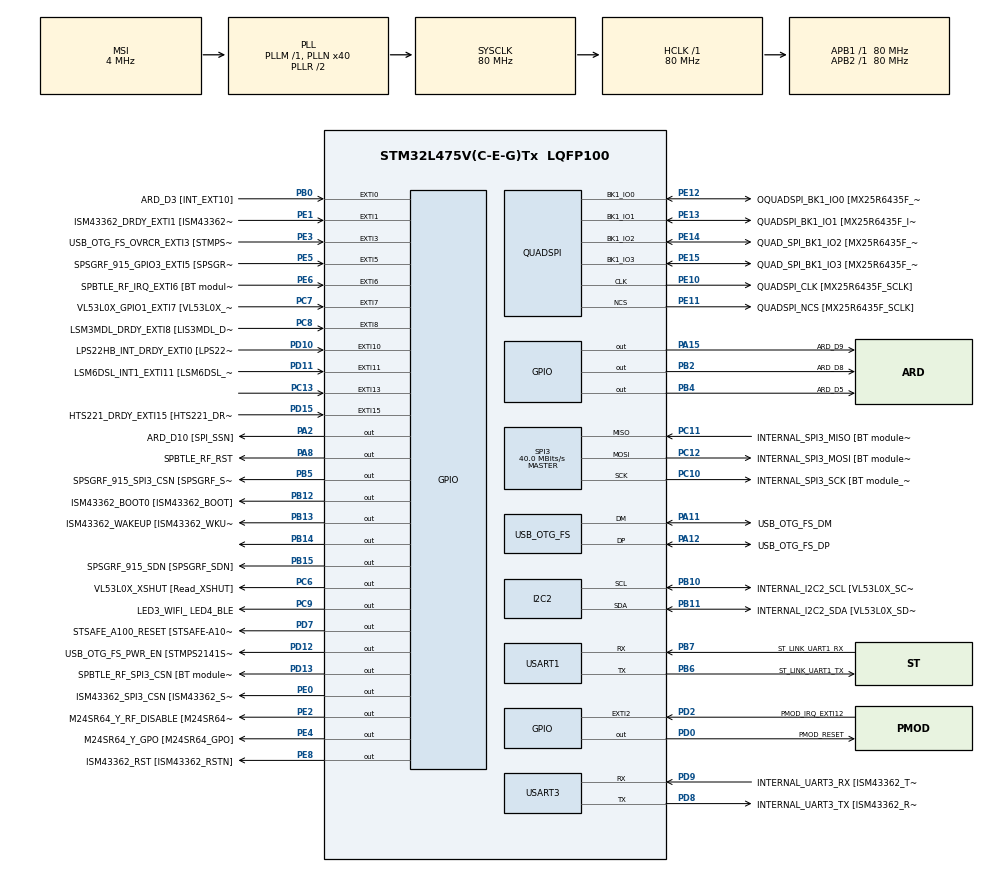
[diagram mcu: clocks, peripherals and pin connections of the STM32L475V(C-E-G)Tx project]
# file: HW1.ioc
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FREERTOS.BinarySemaphores01=timer,Dynamic,NULL,Available
FREERTOS.Mutexes01=blink,Dynamic,NULL,Depleted
FREERTOS.Queues01=button,16,uint16_t,0,Dynamic,NULL,NULL
FREERTOS.Tasks01=timer_task,47,128,StartDefaultTask,Default,NULL,Dynamic,NULL,NULL;button_task,8,128,StartTask02,Default,NULL,Dynamic,NULL,NULL
I2C2.Timing=0x10D19CE4
Mcu.Family=STM32L4
Mcu.Name=STM32L475V(C-E-G)Tx
Mcu.Package=LQFP100
NVIC.EXTI15_10_IRQn=true\:5\:0\:false\:false\:true\:true\:true\:true\:true
NVIC.EXTI9_5_IRQn=true\:5\:0\:false\:false\:true\:true\:true\:true\:true
NVIC.PriorityGroup=NVIC_PRIORITYGROUP_4
NVIC.TIM6_DAC_IRQn=true\:5\:0\:false\:false\:true\:true\:true\:true\:true
PA0.GPIO_Label=ARD_D1 [UART4_TX]
PA0.Signal=UART4_TX
PA1.GPIO_Label=ARD_D0 [UART4_RX]
PA1.Signal=UART4_RX
PA10.GPIO_Label=USB_OTG_FS_ID
PA10.Signal=USB_OTG_FS_ID
PA11.GPIO_Label=USB_OTG_FS_DM
PA11.Mode=Device_Only
PA11.Signal=USB_OTG_FS_DM
PA12.GPIO_Label=USB_OTG_FS_DP
PA12.Mode=Device_Only
PA12.Signal=USB_OTG_FS_DP
PA13\ (JTMS-SWDIO).GPIO_Label=SYS_JTMS_SWDIO
PA13\ (JTMS-SWDIO).Mode=Serial_Wire
PA13\ (JTMS-SWDIO).Signal=SYS_JTMS-SWDIO
PA14\ (JTCK-SWCLK).GPIO_Label=SYS_JTCK_SWCLK
PA14\ (JTCK-SWCLK).Mode=Serial_Wire
PA14\ (JTCK-SWCLK).Signal=SYS_JTCK-SWCLK
PA15\ (JTDI).GPIO_Label=ARD_D9
PA15\ (JTDI).Signal=GPIO_Output
PA2.GPIO_Label=ARD_D10 [SPI_SSN]
PA2.Signal=GPIO_Output
PA3.GPIO_Label=ARD_D4
PA3.Signal=S_TIM2_CH4
PA4.GPIO_Label=ARD_D7
PA4.Signal=ADCx_IN9
PA5.GPIO_Label=ARD_D13 [SPI1_SCK]
PA5.Signal=SPI1_SCK
PA6.GPIO_Label=ARD_D12 [SPI1_MISO]
PA6.Signal=SPI1_MISO
PA7.GPIO_Label=ARD_D11 [SPI1_MOSI]
PA7.Signal=SPI1_MOSI
PA8.GPIO_Label=SPBTLE_RF_RST
PA8.Signal=GPIO_Output
PA9.GPIO_Label=USB_OTG_FS_VBUS [STMPS2141STR_OUT]
PA9.Signal=USB_OTG_FS_VBUS
PB0.GPIO_Label=ARD_D3 [INT_EXT10]
PB0.Signal=GPXTI0
PB1.GPIO_Label=ARD_D6 [ADC1_IN6]
PB1.Signal=ADCx_IN16
PB10.GPIO_Label=INTERNAL_I2C2_SCL [VL53L0X_SCL]
PB10.GPIO_Pu=GPIO_PULLUP
PB10.Mode=I2C
PB10.Signal=I2C2_SCL
PB11.GPIO_Label=INTERNAL_I2C2_SDA [VL53L0X_SDA]
PB11.GPIO_Pu=GPIO_PULLUP
PB11.Mode=I2C
PB11.Signal=I2C2_SDA
PB12.GPIO_Label=ISM43362_BOOT0 [ISM43362_BOOT]
PB12.Signal=GPIO_Output
PB13.GPIO_Label=ISM43362_WAKEUP [ISM43362_WKUP]
PB13.Signal=GPIO_Output
PB14.Signal=GPIO_Output
PB15.GPIO_Label=SPSGRF_915_SDN [SPSGRF_SDN]
PB15.Signal=GPIO_Output
PB2.GPIO_Label=ARD_D8
PB2.Signal=GPIO_Output
PB3\ (JTDO-TRACESWO).GPIO_Label=SYS_JTD0_SWO
PB3\ (JTDO-TRACESWO).Signal=SYS_JTDO-SWO
PB4\ (NJTRST).GPIO_Label=ARD_D5
PB4\ (NJTRST).Signal=GPIO_Output
PB5.GPIO_Label=SPSGRF_915_SPI3_CSN [SPSGRF_SPI_CS]
PB5.PinState=GPIO_PIN_SET
PB5.Signal=GPIO_Output
PB6.GPIO_Label=ST_LINK_UART1_TX
PB6.Mode=Asynchronous
PB6.Signal=USART1_TX
PB7.GPIO_Label=ST_LINK_UART1_RX
PB7.Mode=Asynchronous
PB7.Signal=USART1_RX
PB8.GPIO_Label=ARD_D15 [I2C1_SCL]
PB8.Signal=I2C1_SCL
PB9.GPIO_Label=ARD_D14 [I2C1_SDA]
PB9.Signal=I2C1_SDA
PC0.GPIO_Label=ARD_A5 [ADC]
PC0.Signal=ADCx_IN1
PC1.GPIO_Label=ARD_A4 [ADC]
PC1.Signal=ADCx_IN2
PC10.GPIO_Label=INTERNAL_SPI3_SCK [BT module_SPI_SCLK] [ISM43362_SCK]
PC10.Mode=Full_Duplex_Master
PC10.Signal=SPI3_SCK
PC11.GPIO_Label=INTERNAL_SPI3_MISO [BT module_SPI_MISO] [ISM43362_MISO]
PC11.Mode=Full_Duplex_Master
PC11.Signal=SPI3_MISO
PC12.GPIO_Label=INTERNAL_SPI3_MOSI [BT module_SPI_MOSI] [ISM43362_MOSI]
PC12.Mode=Full_Duplex_Master
PC12.Signal=SPI3_MOSI
PC13.GPIO_ModeDefaultEXTI=GPIO_MODE_IT_RISING_FALLING
PC13.GPIO_PuPd=GPIO_PULLUP
PC13.Signal=GPXTI13
PC14-OSC32_IN\ (PC14).Mode=LSE-External-Oscillator
PC14-OSC32_IN\ (PC14).Signal=RCC_OSC32_IN
PC15-OSC32_OUT\ (PC15).Mode=LSE-External-Oscillator
PC15-OSC32_OUT\ (PC15).Signal=RCC_OSC32_OUT
PC2.GPIO_Label=ARD_A3 [ADC]
PC2.Signal=ADCx_IN3
PC3.GPIO_Label=ARD_A2 [ADC]
PC3.Signal=ADCx_IN4
PC4.GPIO_Label=ARD_A1 [ADC]
PC4.Signal=ADCx_IN13
PC5.GPIO_Label=ARD_A0 [ADC]
PC5.Signal=ADCx_IN14
PC6.GPIO_Label=VL53L0X_XSHUT [Read_XSHUT]
PC6.Signal=GPIO_Output
PC7.GPIO_Label=VL53L0X_GPIO1_EXTI7 [VL53L0X_GPIO1]
PC7.Signal=GPXTI7
PC8.GPIO_Label=LSM3MDL_DRDY_EXTI8 [LIS3MDL_DRDY]
PC8.Signal=GPXTI8
PC9.GPIO_Label=LED3_WIFI_ LED4_BLE
PC9.Signal=GPIO_Output
PD0.GPIO_Label=PMOD_RESET
PD0.Signal=GPIO_Output
PD1.GPIO_Label=PMOD_SPI2_SCK
PD1.Signal=SPI2_SCK
PD10.GPIO_Label=LPS22HB_INT_DRDY_EXTI0 [LPS22HB_INT_DRDY] 
PD10.Signal=GPXTI10
PD11.GPIO_Label=LSM6DSL_INT1_EXTI11 [LSM6DSL_INT1]
PD11.Signal=GPXTI11
PD12.GPIO_Label=USB_OTG_FS_PWR_EN [STMPS2141STR_EN]
PD12.Signal=GPIO_Output
PD13.GPIO_Label=SPBTLE_RF_SPI3_CSN [BT module_SPI_CS]
PD13.PinState=GPIO_PIN_SET
PD13.Signal=GPIO_Output
PD15.GPIO_Label=HTS221_DRDY_EXTI15 [HTS221_DRDY]
PD15.Signal=GPXTI15
PD2.GPIO_Label=PMOD_IRQ_EXTI12
PD2.Signal=GPXTI2
PD3.GPIO_Label=PMOD_UART2_CTS
PD3.Signal=USART2_CTS
PD4.GPIO_Label=PMOD_UART2_RTS
PD4.Signal=USART2_RTS
PD5.GPIO_Label=PMOD_UART2_TX
PD5.Signal=USART2_TX
PD6.GPIO_Label=PMOD_UART2_RX
PD6.Signal=USART2_RX
PD7.GPIO_Label=STSAFE_A100_RESET [STSAFE-A100_RESET]
PD7.Signal=GPIO_Output
PD8.GPIO_Label=INTERNAL_UART3_TX [ISM43362_RX]
PD8.Mode=Asynchronous
PD8.Signal=USART3_TX
PD9.GPIO_Label=INTERNAL_UART3_RX [ISM43362_TX]
PD9.Mode=Asynchronous
PD9.Signal=USART3_RX
PE0.GPIO_Label=ISM43362_SPI3_CSN [ISM43362_SSN]
PE0.PinState=GPIO_PIN_SET
PE0.Signal=GPIO_Output
PE1.GPIO_Label=ISM43362_DRDY_EXTI1 [ISM43362_DATARDY]
PE1.Signal=GPXTI1
PE10.GPIO_Label=QUADSPI_CLK [MX25R6435F_SCLK]
PE10.Mode=Single Bank
PE10.Signal=QUADSPI_CLK
PE11.GPIO_Label=QUADSPI_NCS [MX25R6435F_SCLK]
PE11.Mode=Single Bank
PE11.Signal=QUADSPI_NCS
PE12.GPIO_Label=OQUADSPI_BK1_IO0 [MX25R6435F_IO0]
PE12.Mode=Single Bank
PE12.Signal=QUADSPI_BK1_IO0
PE13.GPIO_Label=QUADSPI_BK1_IO1 [MX25R6435F_IO1]
PE13.Mode=Single Bank
PE13.Signal=QUADSPI_BK1_IO1
PE14.GPIO_Label=QUAD_SPI_BK1_IO2 [MX25R6435F_IO2]
PE14.Mode=Single Bank
PE14.Signal=QUADSPI_BK1_IO2
PE15.GPIO_Label=QUAD_SPI_BK1_IO3 [MX25R6435F_IO3]
PE15.Mode=Single Bank
PE15.Signal=QUADSPI_BK1_IO3
PE2.GPIO_Label=M24SR64_Y_RF_DISABLE [M24SR64_RFDIS]
PE2.Signal=GPIO_Output
PE3.GPIO_Label=USB_OTG_FS_OVRCR_EXTI3 [STMPS2141STR_FAULT]
PE3.Signal=GPXTI3
PE4.GPIO_Label=M24SR64_Y_GPO [M24SR64_GPO]
PE4.Signal=GPIO_Output
PE5.GPIO_Label=SPSGRF_915_GPIO3_EXTI5 [SPSGRF_GPIO_3]
PE5.Signal=GPXTI5
PE6.GPIO_Label=SPBTLE_RF_IRQ_EXTI6 [BT module_SPI_IRQ]
PE6.Signal=GPXTI6
PE8.GPIO_Label=ISM43362_RST [ISM43362_RSTN]
PE8.Signal=GPIO_Output
PE9.GPIO_Label=DFSDM1_CKOUT [MP34DT01_CLK]
PE9.Signal=S_CKOUTDFSDM1
ProjectManager.HeapSize=0x200
ProjectManager.StackSize=0x400
ProjectManager.TargetToolchain=STM32CubeIDE
QUADSPI.ClockPrescaler=2
QUADSPI.FifoThreshold=4
QUADSPI.FlashSize=23
QUADSPI.SampleShifting=QSPI_SAMPLE_SHIFTING_HALFCYCLE
RCC.ADCFreq_Value=48000000
RCC.AHBFreq_Value=80000000
RCC.APB1Freq_Value=80000000
RCC.APB1TimFreq_Value=80000000
RCC.APB2Freq_Value=80000000
RCC.APB2TimFreq_Value=80000000
RCC.CortexFreq_Value=80000000
RCC.HCLKFreq_Value=80000000
RCC.HSE_VALUE=8000000
RCC.HSI_VALUE=16000000
RCC.MSI_VALUE=4000000
RCC.PLLN=40
RCC.PLLSAI1N=24
RCC.SYSCLKFreq_VALUE=80000000
RCC.SYSCLKSource=RCC_SYSCLKSOURCE_PLLCLK
RCC.USBFreq_Value=48000000
RCC.VCOOutputFreq_Value=160000000
SH.ADCx_IN1.0=ADC1_IN1
SH.ADCx_IN13.0=ADC1_IN13
SH.ADCx_IN14.0=ADC1_IN14
SH.ADCx_IN16.0=ADC1_IN16
SH.ADCx_IN2.0=ADC1_IN2
SH.ADCx_IN3.0=ADC1_IN3
SH.ADCx_IN4.0=ADC1_IN4
SH.ADCx_IN9.0=ADC1_IN9
SH.S_CKOUTDFSDM1.0=DFSDM1_CKOUT
SH.S_TIM2_CH4.0=TIM2_CH4
SPI3.CalculateBaudRate=40.0 MBits/s
SPI3.Direction=SPI_DIRECTION_2LINES
SPI3.Mode=SPI_MODE_MASTER
SPI3.VirtualType=VM_MASTER
TIM6.AutoReloadPreload=TIM_AUTORELOAD_PRELOAD_ENABLE
TIM6.Period=19999
TIM6.Prescaler=39999
USART1.VirtualMode-Asynchronous=VM_ASYNC
USART3.VirtualMode-Asynchronous=VM_ASYNC
USB_OTG_FS.VirtualMode=Device_Only
VP_FREERTOS_VS_CMSIS_V2.Mode=CMSIS_V2
VP_TIM6_VS_ClockSourceINT.Mode=Enable_Timer
board=B-L475E-IOT01A2

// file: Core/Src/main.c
/* USER CODE BEGIN Header */
/**
  ******************************************************************************
  * @file           : main.c
  * @brief          : Main program body
  ******************************************************************************
  * @attention
  *
  * Copyright (c) 2024 STMicroelectronics.
  * All rights reserved.
  *
  * This software is licensed under terms that can be found in the LICENSE file
  * in the root directory of this software component.
  * If no LICENSE file comes with this software, it is provided AS-IS.
  *
  ******************************************************************************
  */
/* USER CODE END Header */
#include "main.h"
#include "cmsis_os.h"

/* USER CODE BEGIN PTD */
typedef enum {
    SHORT_PRESS_EVENT,
    LONG_PRESS_EVENT
} ButtonPressType;
/* USER CODE END PTD */

I2C_HandleTypeDef hi2c2;

QSPI_HandleTypeDef hqspi;

SPI_HandleTypeDef hspi3;

TIM_HandleTypeDef htim6;

UART_HandleTypeDef huart1;
UART_HandleTypeDef huart3;

PCD_HandleTypeDef hpcd_USB_OTG_FS;

/* Definitions for timer_task */
osThreadId_t timer_taskHandle;
const osThreadAttr_t timer_task_attributes = {
  .name = "timer_task",
  .stack_size = 128 * 4,
  .priority = (osPriority_t) osPriorityHigh7,
};
/* Definitions for button_task */
osThreadId_t button_taskHandle;
const osThreadAttr_t button_task_attributes = {
  .name = "button_task",
  .stack_size = 128 * 4,
  .priority = (osPriority_t) osPriorityLow,
};
/* Definitions for button */
osMessageQueueId_t buttonHandle;
const osMessageQueueAttr_t button_attributes = {
  .name = "button"
};
/* Definitions for blink */
osMutexId_t blinkHandle;
const osMutexAttr_t blink_attributes = {
  .name = "blink"
};
/* Definitions for timer */
osSemaphoreId_t timerHandle;
const osSemaphoreAttr_t timer_attributes = {
  .name = "timer"
};
/* USER CODE BEGIN PV */
// Create binary semaphores and mutex

/* USER CODE END PV */

void SystemClock_Config(void);
static void MX_GPIO_Init(void);
static void MX_I2C2_Init(void);
static void MX_QUADSPI_Init(void);
static void MX_SPI3_Init(void);
static void MX_USART1_UART_Init(void);
static void MX_USART3_UART_Init(void);
static void MX_USB_OTG_FS_PCD_Init(void);
static void MX_TIM6_Init(void);
void StartDefaultTask(void *argument);
void StartTask02(void *argument);

/* USER CODE BEGIN 0 */

static uint32_t buttonPressTime = 0;  // Track button press start time
static uint8_t buttonState = 0;
static uint32_t lastDebounceTime = 0;
void HAL_GPIO_EXTI_Callback(uint16_t GPIO_Pin) {
    if (GPIO_Pin == GPIO_PIN_13) {

        uint32_t currentTime = HAL_GetTick();  // Get the current time in ms

        if (currentTime - lastDebounceTime > 50) {  // Debouncing (50ms)
            lastDebounceTime = currentTime;

            if (HAL_GPIO_ReadPin(GPIOC, GPIO_PIN_13) == GPIO_PIN_RESET) {
                // Button is pressed (rising edge)
                buttonPressTime = currentTime;  // Record press start time
                buttonState = 1;
            } else {
                // Button is released (falling edge)
                if (buttonState == 1) {
                    uint32_t pressDuration = currentTime - buttonPressTime;

                    // Long press detection (1 second threshold)
                    if (pressDuration >= 1000) {
                        ButtonPressType longPress = LONG_PRESS_EVENT;
                        osMessageQueuePut(buttonHandle, &longPress, 0, 0);
                    } else {
                        ButtonPressType shortPress = SHORT_PRESS_EVENT;
                        osMessageQueuePut(buttonHandle, &shortPress, 0, 0);
                    }

                    buttonState = 0;  // Reset button state
                }
            }
        }
    }
}

void HAL_TIM_PeriodElapsedCallback(TIM_HandleTypeDef *htim) {
    if (htim->Instance == TIM6) {
        // Release the timer semaphore from ISR
        osSemaphoreRelease(timerHandle);
    }
}

/* USER CODE END 0 */

int main(void)
{

  /* MCU Configuration--------------------------------------------------------*/

  /* Reset of all peripherals, Initializes the Flash interface and the Systick. */
  HAL_Init();

  /* Configure the system clock */
  SystemClock_Config();

  /* Initialize all configured peripherals */
  MX_GPIO_Init();
  MX_I2C2_Init();
  MX_QUADSPI_Init();
  MX_SPI3_Init();
  MX_USART1_UART_Init();
  MX_USART3_UART_Init();
  MX_USB_OTG_FS_PCD_Init();
  MX_TIM6_Init();
  /* USER CODE BEGIN 2 */
  HAL_TIM_Base_Start_IT(&htim6);
  /* USER CODE END 2 */

  /* Init scheduler */
  osKernelInitialize();
  /* Create the mutex(es) */
  /* creation of blink */
  blinkHandle = osMutexNew(&blink_attributes);

  /* Create the semaphores(s) */
  /* creation of timer */
  timerHandle = osSemaphoreNew(1, 1, &timer_attributes);

  /* Create the queue(s) */
  /* creation of button */
  buttonHandle = osMessageQueueNew (16, sizeof(uint16_t), &button_attributes);

  /* Create the thread(s) */
  /* creation of timer_task */
  timer_taskHandle = osThreadNew(StartDefaultTask, NULL, &timer_task_attributes);

  /* creation of button_task */
  button_taskHandle = osThreadNew(StartTask02, NULL, &button_task_attributes);

  /* Start scheduler */
  osKernelStart();

  /* We should never get here as control is now taken by the scheduler */

  /* Infinite loop */
  while (1)
  {

  }
}

void SystemClock_Config(void)
{
  RCC_OscInitTypeDef RCC_OscInitStruct = {0};
  RCC_ClkInitTypeDef RCC_ClkInitStruct = {0};

  /** Configure the main internal regulator output voltage
  */
  if (HAL_PWREx_ControlVoltageScaling(PWR_REGULATOR_VOLTAGE_SCALE1) != HAL_OK)
  {
    Error_Handler();
  }

  /** Configure LSE Drive Capability
  */
  HAL_PWR_EnableBkUpAccess();
  __HAL_RCC_LSEDRIVE_CONFIG(RCC_LSEDRIVE_LOW);

  /** Initializes the RCC Oscillators according to the specified parameters
  * in the RCC_OscInitTypeDef structure.
  */
  RCC_OscInitStruct.OscillatorType = RCC_OSCILLATORTYPE_LSE|RCC_OSCILLATORTYPE_MSI;
  RCC_OscInitStruct.LSEState = RCC_LSE_ON;
  RCC_OscInitStruct.MSIState = RCC_MSI_ON;
  RCC_OscInitStruct.MSICalibrationValue = 0;
  RCC_OscInitStruct.MSIClockRange = RCC_MSIRANGE_6;
  RCC_OscInitStruct.PLL.PLLState = RCC_PLL_ON;
  RCC_OscInitStruct.PLL.PLLSource = RCC_PLLSOURCE_MSI;
  RCC_OscInitStruct.PLL.PLLM = 1;
  RCC_OscInitStruct.PLL.PLLN = 40;
  RCC_OscInitStruct.PLL.PLLP = RCC_PLLP_DIV7;
  RCC_OscInitStruct.PLL.PLLQ = RCC_PLLQ_DIV2;
  RCC_OscInitStruct.PLL.PLLR = RCC_PLLR_DIV2;
  if (HAL_RCC_OscConfig(&RCC_OscInitStruct) != HAL_OK)
  {
    Error_Handler();
  }

  /** Initializes the CPU, AHB and APB buses clocks
  */
  RCC_ClkInitStruct.ClockType = RCC_CLOCKTYPE_HCLK|RCC_CLOCKTYPE_SYSCLK
                              |RCC_CLOCKTYPE_PCLK1|RCC_CLOCKTYPE_PCLK2;
  RCC_ClkInitStruct.SYSCLKSource = RCC_SYSCLKSOURCE_PLLCLK;
  RCC_ClkInitStruct.AHBCLKDivider = RCC_SYSCLK_DIV1;
  RCC_ClkInitStruct.APB1CLKDivider = RCC_HCLK_DIV1;
  RCC_ClkInitStruct.APB2CLKDivider = RCC_HCLK_DIV1;

  if (HAL_RCC_ClockConfig(&RCC_ClkInitStruct, FLASH_LATENCY_4) != HAL_OK)
  {
    Error_Handler();
  }

  /** Enable MSI Auto calibration
  */
  HAL_RCCEx_EnableMSIPLLMode();
}

static void MX_I2C2_Init(void)
{

  hi2c2.Instance = I2C2;
  hi2c2.Init.Timing = 0x10D19CE4;
  hi2c2.Init.OwnAddress1 = 0;
  hi2c2.Init.AddressingMode = I2C_ADDRESSINGMODE_7BIT;
  hi2c2.Init.DualAddressMode = I2C_DUALADDRESS_DISABLE;
  hi2c2.Init.OwnAddress2 = 0;
  hi2c2.Init.OwnAddress2Masks = I2C_OA2_NOMASK;
  hi2c2.Init.GeneralCallMode = I2C_GENERALCALL_DISABLE;
  hi2c2.Init.NoStretchMode = I2C_NOSTRETCH_DISABLE;
  if (HAL_I2C_Init(&hi2c2) != HAL_OK)
  {
    Error_Handler();
  }

  /** Configure Analogue filter
  */
  if (HAL_I2CEx_ConfigAnalogFilter(&hi2c2, I2C_ANALOGFILTER_ENABLE) != HAL_OK)
  {
    Error_Handler();
  }

  /** Configure Digital filter
  */
  if (HAL_I2CEx_ConfigDigitalFilter(&hi2c2, 0) != HAL_OK)
  {
    Error_Handler();
  }

}

static void MX_QUADSPI_Init(void)
{

  /* QUADSPI parameter configuration*/
  hqspi.Instance = QUADSPI;
  hqspi.Init.ClockPrescaler = 2;
  hqspi.Init.FifoThreshold = 4;
  hqspi.Init.SampleShifting = QSPI_SAMPLE_SHIFTING_HALFCYCLE;
  hqspi.Init.FlashSize = 23;
  hqspi.Init.ChipSelectHighTime = QSPI_CS_HIGH_TIME_1_CYCLE;
  hqspi.Init.ClockMode = QSPI_CLOCK_MODE_0;
  if (HAL_QSPI_Init(&hqspi) != HAL_OK)
  {
    Error_Handler();
  }

}

static void MX_SPI3_Init(void)
{

  /* SPI3 parameter configuration*/
  hspi3.Instance = SPI3;
  hspi3.Init.Mode = SPI_MODE_MASTER;
  hspi3.Init.Direction = SPI_DIRECTION_2LINES;
  hspi3.Init.DataSize = SPI_DATASIZE_4BIT;
  hspi3.Init.CLKPolarity = SPI_POLARITY_LOW;
  hspi3.Init.CLKPhase = SPI_PHASE_1EDGE;
  hspi3.Init.NSS = SPI_NSS_SOFT;
  hspi3.Init.BaudRatePrescaler = SPI_BAUDRATEPRESCALER_2;
  hspi3.Init.FirstBit = SPI_FIRSTBIT_MSB;
  hspi3.Init.TIMode = SPI_TIMODE_DISABLE;
  hspi3.Init.CRCCalculation = SPI_CRCCALCULATION_DISABLE;
  hspi3.Init.CRCPolynomial = 7;
  hspi3.Init.CRCLength = SPI_CRC_LENGTH_DATASIZE;
  hspi3.Init.NSSPMode = SPI_NSS_PULSE_ENABLE;
  if (HAL_SPI_Init(&hspi3) != HAL_OK)
  {
    Error_Handler();
  }

}

static void MX_TIM6_Init(void)
{

  TIM_MasterConfigTypeDef sMasterConfig = {0};

  htim6.Instance = TIM6;
  htim6.Init.Prescaler = 39999;
  htim6.Init.CounterMode = TIM_COUNTERMODE_UP;
  htim6.Init.Period = 19999;
  htim6.Init.AutoReloadPreload = TIM_AUTORELOAD_PRELOAD_ENABLE;
  if (HAL_TIM_Base_Init(&htim6) != HAL_OK)
  {
    Error_Handler();
  }
  sMasterConfig.MasterOutputTrigger = TIM_TRGO_RESET;
  sMasterConfig.MasterSlaveMode = TIM_MASTERSLAVEMODE_DISABLE;
  if (HAL_TIMEx_MasterConfigSynchronization(&htim6, &sMasterConfig) != HAL_OK)
  {
    Error_Handler();
  }

}

static void MX_USART1_UART_Init(void)
{

  huart1.Instance = USART1;
  huart1.Init.BaudRate = 115200;
  huart1.Init.WordLength = UART_WORDLENGTH_8B;
  huart1.Init.StopBits = UART_STOPBITS_1;
  huart1.Init.Parity = UART_PARITY_NONE;
  huart1.Init.Mode = UART_MODE_TX_RX;
  huart1.Init.HwFlowCtl = UART_HWCONTROL_NONE;
  huart1.Init.OverSampling = UART_OVERSAMPLING_16;
  huart1.Init.OneBitSampling = UART_ONE_BIT_SAMPLE_DISABLE;
  huart1.AdvancedInit.AdvFeatureInit = UART_ADVFEATURE_NO_INIT;
  if (HAL_UART_Init(&huart1) != HAL_OK)
  {
    Error_Handler();
  }

}

static void MX_USART3_UART_Init(void)
{

  huart3.Instance = USART3;
  huart3.Init.BaudRate = 115200;
  huart3.Init.WordLength = UART_WORDLENGTH_8B;
  huart3.Init.StopBits = UART_STOPBITS_1;
  huart3.Init.Parity = UART_PARITY_NONE;
  huart3.Init.Mode = UART_MODE_TX_RX;
  huart3.Init.HwFlowCtl = UART_HWCONTROL_NONE;
  huart3.Init.OverSampling = UART_OVERSAMPLING_16;
  huart3.Init.OneBitSampling = UART_ONE_BIT_SAMPLE_DISABLE;
  huart3.AdvancedInit.AdvFeatureInit = UART_ADVFEATURE_NO_INIT;
  if (HAL_UART_Init(&huart3) != HAL_OK)
  {
    Error_Handler();
  }

}

static void MX_USB_OTG_FS_PCD_Init(void)
{

  hpcd_USB_OTG_FS.Instance = USB_OTG_FS;
  hpcd_USB_OTG_FS.Init.dev_endpoints = 6;
  hpcd_USB_OTG_FS.Init.speed = PCD_SPEED_FULL;
  hpcd_USB_OTG_FS.Init.phy_itface = PCD_PHY_EMBEDDED;
  hpcd_USB_OTG_FS.Init.Sof_enable = DISABLE;
  hpcd_USB_OTG_FS.Init.low_power_enable = DISABLE;
  hpcd_USB_OTG_FS.Init.lpm_enable = DISABLE;
  hpcd_USB_OTG_FS.Init.battery_charging_enable = DISABLE;
  hpcd_USB_OTG_FS.Init.use_dedicated_ep1 = DISABLE;
  hpcd_USB_OTG_FS.Init.vbus_sensing_enable = DISABLE;
  if (HAL_PCD_Init(&hpcd_USB_OTG_FS) != HAL_OK)
  {
    Error_Handler();
  }

}

static void MX_GPIO_Init(void)
{
  GPIO_InitTypeDef GPIO_InitStruct = {0};

  /* GPIO Ports Clock Enable */
  __HAL_RCC_GPIOE_CLK_ENABLE();
  __HAL_RCC_GPIOC_CLK_ENABLE();
  __HAL_RCC_GPIOA_CLK_ENABLE();
  __HAL_RCC_GPIOB_CLK_ENABLE();
  __HAL_RCC_GPIOD_CLK_ENABLE();

  /*Configure GPIO pin Output Level */
  HAL_GPIO_WritePin(GPIOE, M24SR64_Y_RF_DISABLE_Pin|M24SR64_Y_GPO_Pin|ISM43362_RST_Pin, GPIO_PIN_RESET);

  /*Configure GPIO pin Output Level */
  HAL_GPIO_WritePin(GPIOA, ARD_D10_Pin|SPBTLE_RF_RST_Pin|ARD_D9_Pin, GPIO_PIN_RESET);

  /*Configure GPIO pin Output Level */
  HAL_GPIO_WritePin(GPIOB, ARD_D8_Pin|ISM43362_BOOT0_Pin|ISM43362_WAKEUP_Pin|GPIO_PIN_14
                          |SPSGRF_915_SDN_Pin|ARD_D5_Pin, GPIO_PIN_RESET);

  /*Configure GPIO pin Output Level */
  HAL_GPIO_WritePin(GPIOD, USB_OTG_FS_PWR_EN_Pin|PMOD_RESET_Pin|STSAFE_A100_RESET_Pin, GPIO_PIN_RESET);

  /*Configure GPIO pin Output Level */
  HAL_GPIO_WritePin(SPBTLE_RF_SPI3_CSN_GPIO_Port, SPBTLE_RF_SPI3_CSN_Pin, GPIO_PIN_SET);

  /*Configure GPIO pin Output Level */
  HAL_GPIO_WritePin(GPIOC, VL53L0X_XSHUT_Pin|LED3_WIFI__LED4_BLE_Pin, GPIO_PIN_RESET);

  /*Configure GPIO pin Output Level */
  HAL_GPIO_WritePin(SPSGRF_915_SPI3_CSN_GPIO_Port, SPSGRF_915_SPI3_CSN_Pin, GPIO_PIN_SET);

  /*Configure GPIO pin Output Level */
  HAL_GPIO_WritePin(ISM43362_SPI3_CSN_GPIO_Port, ISM43362_SPI3_CSN_Pin, GPIO_PIN_SET);

  /*Configure GPIO pins : M24SR64_Y_RF_DISABLE_Pin M24SR64_Y_GPO_Pin ISM43362_RST_Pin ISM43362_SPI3_CSN_Pin */
  GPIO_InitStruct.Pin = M24SR64_Y_RF_DISABLE_Pin|M24SR64_Y_GPO_Pin|ISM43362_RST_Pin|ISM43362_SPI3_CSN_Pin;
  GPIO_InitStruct.Mode = GPIO_MODE_OUTPUT_PP;
  GPIO_InitStruct.Pull = GPIO_NOPULL;
  GPIO_InitStruct.Speed = GPIO_SPEED_FREQ_LOW;
  HAL_GPIO_Init(GPIOE, &GPIO_InitStruct);

  /*Configure GPIO pins : USB_OTG_FS_OVRCR_EXTI3_Pin SPSGRF_915_GPIO3_EXTI5_Pin SPBTLE_RF_IRQ_EXTI6_Pin ISM43362_DRDY_EXTI1_Pin */
  GPIO_InitStruct.Pin = USB_OTG_FS_OVRCR_EXTI3_Pin|SPSGRF_915_GPIO3_EXTI5_Pin|SPBTLE_RF_IRQ_EXTI6_Pin|ISM43362_DRDY_EXTI1_Pin;
  GPIO_InitStruct.Mode = GPIO_MODE_IT_RISING;
  GPIO_InitStruct.Pull = GPIO_NOPULL;
  HAL_GPIO_Init(GPIOE, &GPIO_InitStruct);

  /*Configure GPIO pin : PC13 */
  GPIO_InitStruct.Pin = GPIO_PIN_13;
  GPIO_InitStruct.Mode = GPIO_MODE_IT_RISING_FALLING;
  GPIO_InitStruct.Pull = GPIO_PULLUP;
  HAL_GPIO_Init(GPIOC, &GPIO_InitStruct);

  /*Configure GPIO pins : ARD_A5_Pin ARD_A4_Pin ARD_A3_Pin ARD_A2_Pin
                           ARD_A1_Pin ARD_A0_Pin */
  GPIO_InitStruct.Pin = ARD_A5_Pin|ARD_A4_Pin|ARD_A3_Pin|ARD_A2_Pin
                          |ARD_A1_Pin|ARD_A0_Pin;
  GPIO_InitStruct.Mode = GPIO_MODE_ANALOG_ADC_CONTROL;
  GPIO_InitStruct.Pull = GPIO_NOPULL;
  HAL_GPIO_Init(GPIOC, &GPIO_InitStruct);

  /*Configure GPIO pins : ARD_D1_Pin ARD_D0_Pin */
  GPIO_InitStruct.Pin = ARD_D1_Pin|ARD_D0_Pin;
  GPIO_InitStruct.Mode = GPIO_MODE_AF_PP;
  GPIO_InitStruct.Pull = GPIO_NOPULL;
  GPIO_InitStruct.Speed = GPIO_SPEED_FREQ_VERY_HIGH;
  GPIO_InitStruct.Alternate = GPIO_AF8_UART4;
  HAL_GPIO_Init(GPIOA, &GPIO_InitStruct);

  /*Configure GPIO pins : ARD_D10_Pin SPBTLE_RF_RST_Pin ARD_D9_Pin */
  GPIO_InitStruct.Pin = ARD_D10_Pin|SPBTLE_RF_RST_Pin|ARD_D9_Pin;
  GPIO_InitStruct.Mode = GPIO_MODE_OUTPUT_PP;
  GPIO_InitStruct.Pull = GPIO_NOPULL;
  GPIO_InitStruct.Speed = GPIO_SPEED_FREQ_LOW;
  HAL_GPIO_Init(GPIOA, &GPIO_InitStruct);

  /*Configure GPIO pin : ARD_D4_Pin */
  GPIO_InitStruct.Pin = ARD_D4_Pin;
  GPIO_InitStruct.Mode = GPIO_MODE_AF_PP;
  GPIO_InitStruct.Pull = GPIO_NOPULL;
  GPIO_InitStruct.Speed = GPIO_SPEED_FREQ_LOW;
  GPIO_InitStruct.Alternate = GPIO_AF1_TIM2;
  HAL_GPIO_Init(ARD_D4_GPIO_Port, &GPIO_InitStruct);

  /*Configure GPIO pin : ARD_D7_Pin */
  GPIO_InitStruct.Pin = ARD_D7_Pin;
  GPIO_InitStruct.Mode = GPIO_MODE_ANALOG_ADC_CONTROL;
  GPIO_InitStruct.Pull = GPIO_NOPULL;
  HAL_GPIO_Init(ARD_D7_GPIO_Port, &GPIO_InitStruct);

  /*Configure GPIO pins : ARD_D13_Pin ARD_D12_Pin ARD_D11_Pin */
  GPIO_InitStruct.Pin = ARD_D13_Pin|ARD_D12_Pin|ARD_D11_Pin;
  GPIO_InitStruct.Mode = GPIO_MODE_AF_PP;
  GPIO_InitStruct.Pull = GPIO_NOPULL;
  GPIO_InitStruct.Speed = GPIO_SPEED_FREQ_VERY_HIGH;
  GPIO_InitStruct.Alternate = GPIO_AF5_SPI1;
  HAL_GPIO_Init(GPIOA, &GPIO_InitStruct);

  /*Configure GPIO pin : ARD_D3_Pin */
  GPIO_InitStruct.Pin = ARD_D3_Pin;
  GPIO_InitStruct.Mode = GPIO_MODE_IT_RISING;
  GPIO_InitStruct.Pull = GPIO_NOPULL;
  HAL_GPIO_Init(ARD_D3_GPIO_Port, &GPIO_InitStruct);

  /*Configure GPIO pin : ARD_D6_Pin */
  GPIO_InitStruct.Pin = ARD_D6_Pin;
  GPIO_InitStruct.Mode = GPIO_MODE_ANALOG_ADC_CONTROL;
  GPIO_InitStruct.Pull = GPIO_NOPULL;
  HAL_GPIO_Init(ARD_D6_GPIO_Port, &GPIO_InitStruct);

  /*Configure GPIO pins : ARD_D8_Pin ISM43362_BOOT0_Pin ISM43362_WAKEUP_Pin PB14
                           SPSGRF_915_SDN_Pin ARD_D5_Pin SPSGRF_915_SPI3_CSN_Pin */
  GPIO_InitStruct.Pin = ARD_D8_Pin|ISM43362_BOOT0_Pin|ISM43362_WAKEUP_Pin|GPIO_PIN_14
                          |SPSGRF_915_SDN_Pin|ARD_D5_Pin|SPSGRF_915_SPI3_CSN_Pin;
  GPIO_InitStruct.Mode = GPIO_MODE_OUTPUT_PP;
  GPIO_InitStruct.Pull = GPIO_NOPULL;
  GPIO_InitStruct.Speed = GPIO_SPEED_FREQ_LOW;
  HAL_GPIO_Init(GPIOB, &GPIO_InitStruct);

  /*Configure GPIO pin : DFSDM1_CKOUT_Pin */
  GPIO_InitStruct.Pin = DFSDM1_CKOUT_Pin;
  GPIO_InitStruct.Mode = GPIO_MODE_AF_PP;
  GPIO_InitStruct.Pull = GPIO_NOPULL;
  GPIO_InitStruct.Speed = GPIO_SPEED_FREQ_LOW;
  GPIO_InitStruct.Alternate = GPIO_AF6_DFSDM1;
  HAL_GPIO_Init(DFSDM1_CKOUT_GPIO_Port, &GPIO_InitStruct);

  /*Configure GPIO pins : LPS22HB_INT_DRDY_EXTI0_Pin LSM6DSL_INT1_EXTI11_Pin HTS221_DRDY_EXTI15_Pin PMOD_IRQ_EXTI12_Pin */
  GPIO_InitStruct.Pin = LPS22HB_INT_DRDY_EXTI0_Pin|LSM6DSL_INT1_EXTI11_Pin|HTS221_DRDY_EXTI15_Pin|PMOD_IRQ_EXTI12_Pin;
  GPIO_InitStruct.Mode = GPIO_MODE_IT_RISING;
  GPIO_InitStruct.Pull = GPIO_NOPULL;
  HAL_GPIO_Init(GPIOD, &GPIO_InitStruct);

  /*Configure GPIO pins : USB_OTG_FS_PWR_EN_Pin SPBTLE_RF_SPI3_CSN_Pin PMOD_RESET_Pin STSAFE_A100_RESET_Pin */
  GPIO_InitStruct.Pin = USB_OTG_FS_PWR_EN_Pin|SPBTLE_RF_SPI3_CSN_Pin|PMOD_RESET_Pin|STSAFE_A100_RESET_Pin;
  GPIO_InitStruct.Mode = GPIO_MODE_OUTPUT_PP;
  GPIO_InitStruct.Pull = GPIO_NOPULL;
  GPIO_InitStruct.Speed = GPIO_SPEED_FREQ_LOW;
  HAL_GPIO_Init(GPIOD, &GPIO_InitStruct);

  /*Configure GPIO pins : VL53L0X_XSHUT_Pin LED3_WIFI__LED4_BLE_Pin */
  GPIO_InitStruct.Pin = VL53L0X_XSHUT_Pin|LED3_WIFI__LED4_BLE_Pin;
  GPIO_InitStruct.Mode = GPIO_MODE_OUTPUT_PP;
  GPIO_InitStruct.Pull = GPIO_NOPULL;
  GPIO_InitStruct.Speed = GPIO_SPEED_FREQ_LOW;
  HAL_GPIO_Init(GPIOC, &GPIO_InitStruct);

  /*Configure GPIO pins : VL53L0X_GPIO1_EXTI7_Pin LSM3MDL_DRDY_EXTI8_Pin */
  GPIO_InitStruct.Pin = VL53L0X_GPIO1_EXTI7_Pin|LSM3MDL_DRDY_EXTI8_Pin;
  GPIO_InitStruct.Mode = GPIO_MODE_IT_RISING;
  GPIO_InitStruct.Pull = GPIO_NOPULL;
  HAL_GPIO_Init(GPIOC, &GPIO_InitStruct);

  /*Configure GPIO pin : PMOD_SPI2_SCK_Pin */
  GPIO_InitStruct.Pin = PMOD_SPI2_SCK_Pin;
  GPIO_InitStruct.Mode = GPIO_MODE_AF_PP;
  GPIO_InitStruct.Pull = GPIO_NOPULL;
  GPIO_InitStruct.Speed = GPIO_SPEED_FREQ_VERY_HIGH;
  GPIO_InitStruct.Alternate = GPIO_AF5_SPI2;
  HAL_GPIO_Init(PMOD_SPI2_SCK_GPIO_Port, &GPIO_InitStruct);

  /*Configure GPIO pins : PMOD_UART2_CTS_Pin PMOD_UART2_RTS_Pin PMOD_UART2_TX_Pin PMOD_UART2_RX_Pin */
  GPIO_InitStruct.Pin = PMOD_UART2_CTS_Pin|PMOD_UART2_RTS_Pin|PMOD_UART2_TX_Pin|PMOD_UART2_RX_Pin;
  GPIO_InitStruct.Mode = GPIO_MODE_AF_PP;
  GPIO_InitStruct.Pull = GPIO_NOPULL;
  GPIO_InitStruct.Speed = GPIO_SPEED_FREQ_VERY_HIGH;
  GPIO_InitStruct.Alternate = GPIO_AF7_USART2;
  HAL_GPIO_Init(GPIOD, &GPIO_InitStruct);

  /*Configure GPIO pins : ARD_D15_Pin ARD_D14_Pin */
  GPIO_InitStruct.Pin = ARD_D15_Pin|ARD_D14_Pin;
  GPIO_InitStruct.Mode = GPIO_MODE_AF_OD;
  GPIO_InitStruct.Pull = GPIO_NOPULL;
  GPIO_InitStruct.Speed = GPIO_SPEED_FREQ_VERY_HIGH;
  GPIO_InitStruct.Alternate = GPIO_AF4_I2C1;
  HAL_GPIO_Init(GPIOB, &GPIO_InitStruct);

  /* EXTI interrupt init*/
  HAL_NVIC_SetPriority(EXTI9_5_IRQn, 5, 0);
  HAL_NVIC_EnableIRQ(EXTI9_5_IRQn);

  HAL_NVIC_SetPriority(EXTI15_10_IRQn, 5, 0);
  HAL_NVIC_EnableIRQ(EXTI15_10_IRQn);

}

void StartDefaultTask(void *argument)
{
  /* USER CODE BEGIN 5 */
  /* Infinite loop */
	 while(1)
	  {
		  if (osSemaphoreAcquire(timerHandle, osWaitForever) == osOK) {
		  	              // Acquire the mutex before starting the blink operation
		  	              if (osMutexAcquire(blinkHandle, osWaitForever) == osOK) {
		  	                  // Blink LED2 at 10 Hz for 2 seconds
		  	                  for (int i = 0; i < 40; i++) {
		  	                      HAL_GPIO_TogglePin(GPIOB, GPIO_PIN_14);
		  	                      osDelay(50); // 50ms delay for 10 Hz blinking
		  	                  }
		  	                  // Release the mutex after blinking is done
		  	                  osMutexRelease(blinkHandle);

		  	              }

		  	          }
	  }
  /* USER CODE END 5 */
}

void StartTask02(void *argument)
{
  /* USER CODE BEGIN StartTask02 */
  /* Infinite loop */
ButtonPressType buttonPress;
		  while(1)
		  {
			  if (osMessageQueueGet(buttonHandle, &buttonPress, NULL, osWaitForever) == osOK) {
			  // Acquire the mutex to protect blinking operation
			              if (osMutexAcquire(blinkHandle, osWaitForever) == osOK) {
			                  if (buttonPress == SHORT_PRESS_EVENT) {
			                      // Blink LED2 at 1 Hz for 5 seconds (normal press)
			                      for (int i = 0; i < 10; i++) {
			                          HAL_GPIO_TogglePin(GPIOB, GPIO_PIN_14);
			                          osDelay(500);  // 500ms delay for 1 Hz
			                      }
			                  }
			                  else if (buttonPress == LONG_PRESS_EVENT) {
			                      // Blink LED2 at 10 Hz for 5 seconds (long press)
			                      for (int i = 0; i < 100; i++) {
			                          HAL_GPIO_TogglePin(GPIOB, GPIO_PIN_14);
			                          osDelay(50);  // 50ms delay for 10 Hz
			                      }
			                  }
			                  // Release the mutex after blinking is done
				              osMutexRelease(blinkHandle);
			              }
			          }

		  }

  /* USER CODE END StartTask02 */
}

void Error_Handler(void)
{
  __disable_irq();
  while (1)
  {
  }
}
